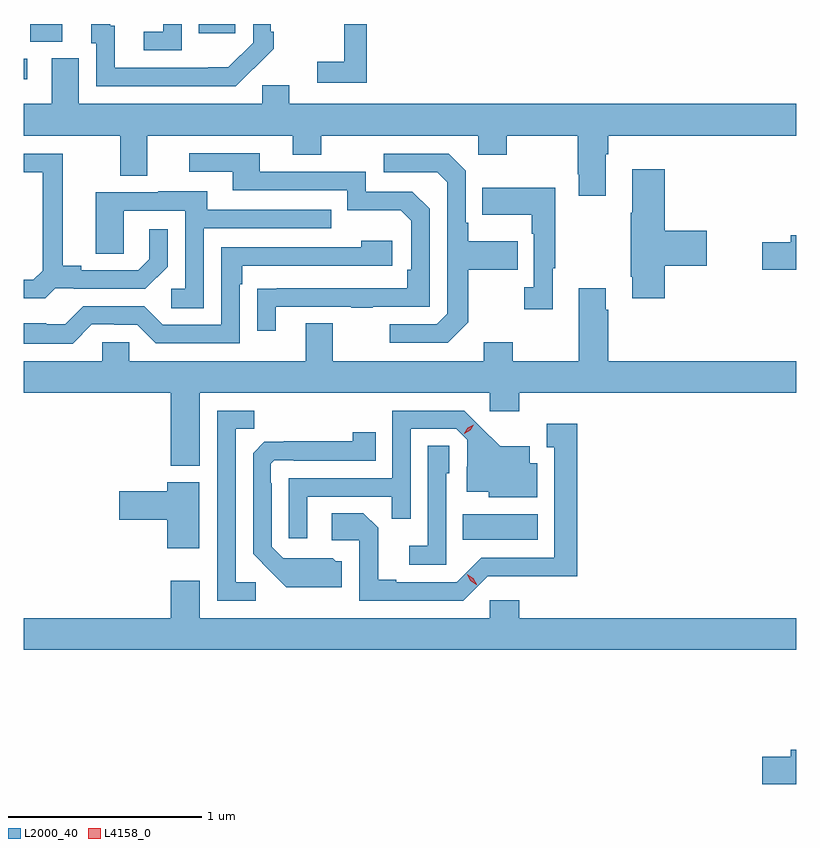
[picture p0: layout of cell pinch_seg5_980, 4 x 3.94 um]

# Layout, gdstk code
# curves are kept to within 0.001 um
import gdstk
lib = gdstk.Library(unit=1e-6, precision=1e-09)
def R(c, l, rs):  # rectangles x0, y0, x1, y1
    for r in rs: c.add(gdstk.rectangle(r[:2], r[2:], *l))
def P(c, l, *ps):  # polygons
    for p in ps: c.add(gdstk.Polygon(p, *l))
L2000_40 = (2000, 40)
L4158_0 = (4158, 0)

pinch_seg5_980 = lib.new_cell('pinch_seg5_980')
R(pinch_seg5_980, L2000_40, [(734.548,897.29,734.935,897.424), (732.274,899.676,732.292,899.781), (732.308,899.869,732.472,899.962), (733.181,899.913,733.369,899.962)])
P(pinch_seg5_980, L2000_40, [(733.463,899.731),(733.464,899.73),(733.569,899.835),(733.569,899.923),(733.554,899.923),(733.554,899.962),(733.461,899.962),(733.461,899.865),(733.333,899.737),(733.229,899.736),(732.745,899.736),(732.745,899.952),(732.721,899.952),(732.721,899.962),(732.623,899.962),(732.623,899.862),(732.648,899.862),(732.648,899.64),(733.372,899.64)],
  [(734.051,899.962),(733.934,899.962),(733.934,899.767),(733.794,899.767),(733.794,899.658),(734.051,899.658)],
  [(733.092,899.962),(732.996,899.962),(732.996,899.922),(732.894,899.922),(732.894,899.826),(733.092,899.826)],
  [(735.289,899.288),(735.302,899.288),(735.302,899.384),(736.274,899.384),(736.274,899.548),(733.648,899.548),(733.648,899.646),(733.509,899.646),(733.509,899.548),(732.559,899.548),(732.559,899.784),(732.419,899.784),(732.419,899.548),(732.274,899.548),(732.274,899.384),(732.773,899.384),(732.773,899.176),(732.913,899.176),(732.913,899.384),(733.667,899.384),(733.667,899.285),(733.815,899.285),(733.815,899.384),(734.628,899.384),(734.628,899.285),(734.775,899.285),(734.775,899.384),(735.142,899.384),(735.142,899.185),(735.149,899.185),(735.149,899.073),(735.289,899.073)],
  [(733.579,898.497),(733.969,898.497),(733.969,898.492),(734.081,898.492),(734.081,898.497),(734.376,898.497),(734.376,899.004),(734.286,899.094),(734.046,899.094),(734.046,899.196),(733.495,899.196),(733.495,899.292),(733.131,899.292),(733.131,899.196),(733.355,899.196),(733.355,899.1),(733.95,899.1),(733.95,898.997),(734.227,898.997),(734.28,898.944),(734.28,898.69),(734.26,898.69),(734.26,898.593),(733.483,898.592),(733.483,898.374),(733.579,898.374)],
  [(732.438,898.593),(732.532,898.593),(732.532,898.59),(732.904,898.59),(733.02,898.706),(733.02,898.9),(732.923,898.9),(732.923,898.743),(732.866,898.686),(732.571,898.686),(732.571,898.709),(732.475,898.709),(732.475,899.289),(732.274,899.289),(732.274,899.193),(732.371,899.193),(732.371,898.685),(732.324,898.638),(732.274,898.638),(732.274,898.541),(732.386,898.541)],
  [(734.575,898.417),(734.575,898.69),(734.831,898.69),(734.831,898.837),(734.575,898.837),(734.575,898.933),(734.562,898.933),(734.562,899.202),(734.475,899.289),(734.139,899.289),(734.139,899.193),(734.415,899.193),(734.466,899.142),(734.466,898.461),(734.412,898.407),(734.169,898.407),(734.169,898.311),(734.469,898.311)],
  [(735.593,898.709),(735.811,898.709),(735.811,898.892),(735.593,898.892),(735.593,899.209),(735.425,899.209),(735.425,898.985),(735.418,898.985),(735.418,898.654),(735.425,898.654),(735.425,898.542),(735.593,898.542)],
  [(735.013,898.697),(735.025,898.697),(735.025,899.113),(734.647,899.113),(734.647,898.973),(734.904,898.973),(734.904,898.877),(734.916,898.877),(734.916,898.598),(734.865,898.598),(734.865,898.485),(735.013,898.485)],
  [(733.206,898.905),(733.865,898.905),(733.865,899.001),(733.225,899.001),(733.225,899.095),(732.971,899.095),(732.971,899.091),(732.647,899.091),(732.647,898.771),(732.792,898.771),(732.792,898.995),(733.11,898.995),(733.11,898.59),(733.038,898.59),(733.038,898.489),(733.206,898.489)],
  [(736.274,898.868),(736.247,898.868),(736.247,898.832),(736.098,898.832),(736.098,898.69),(736.274,898.69)],
  [(732.627,898.407),(732.743,898.407),(732.743,898.404),(732.861,898.404),(732.957,898.308),(733.392,898.308),(733.392,898.613),(733.405,898.613),(733.405,898.71),(734.182,898.71),(734.182,898.84),(734.021,898.84),(734.021,898.806),(733.296,898.806),(733.296,898.404),(732.993,898.404),(732.897,898.5),(732.582,898.5),(732.489,898.407),(732.389,898.407),(732.389,898.411),(732.274,898.411),(732.274,898.307),(732.527,898.307)],
  [(735.149,898.594),(735.149,898.216),(734.805,898.216),(734.805,898.315),(734.657,898.315),(734.657,898.216),(733.873,898.216),(733.873,898.411),(733.733,898.411),(733.733,898.216),(732.819,898.216),(732.819,898.314),(732.681,898.314),(732.681,898.216),(732.274,898.216),(732.274,898.052),(733.034,898.052),(733.034,897.674),(733.186,897.674),(733.186,898.052),(734.688,898.052),(734.688,897.957),(734.84,897.957),(734.84,898.052),(736.274,898.052),(736.274,898.216),(735.302,898.216),(735.302,898.481),(735.289,898.481),(735.289,898.594)],
  [(733.474,897.072),(733.371,897.072),(733.371,897.865),(733.467,897.865),(733.467,897.96),(733.275,897.96),(733.275,896.976),(733.474,896.976)],
  [(733.743,897.513),(734.179,897.513),(734.179,897.4),(734.277,897.4),(734.277,897.867),(734.514,897.867),(734.571,897.81),(734.571,897.668),(734.567,897.668),(734.567,897.539),(734.682,897.539),(734.682,897.512),(734.932,897.512),(734.932,897.688),(734.893,897.688),(734.893,897.775),(734.741,897.775),(734.554,897.96),(734.181,897.96),(734.181,897.609),(733.647,897.609),(733.647,897.3),(733.743,897.3)],
  [(734.676,897.102),(735.139,897.101),(735.139,897.892),(734.981,897.892),(734.981,897.771),(735.02,897.771),(735.02,897.198),(734.643,897.198),(734.517,897.072),(734.203,897.072),(734.203,897.085),(734.109,897.085),(734.109,897.352),(734.033,897.428),(733.869,897.428),(733.869,897.288),(734.01,897.288),(734.01,896.976),(734.55,896.976)],
  [(733.921,897.18),(733.89,897.18),(733.874,897.196),(733.617,897.195),(733.557,897.255),(733.557,897.584),(733.554,897.584),(733.554,897.684),(733.572,897.702),(733.672,897.702),(733.672,897.699),(734.096,897.699),(734.096,897.847),(733.978,897.847),(733.978,897.8),(733.52,897.799),(733.461,897.74),(733.461,897.218),(733.633,897.044),(733.921,897.044)],
  [(734.463,897.636),(734.478,897.636),(734.478,897.779),(734.367,897.779),(734.367,897.259),(734.271,897.259),(734.271,897.162),(734.463,897.162)],
  [(733.183,897.589),(733.016,897.589),(733.016,897.542),(732.768,897.542),(732.768,897.395),(733.016,897.395),(733.016,897.246),(733.183,897.246)],
  [(736.274,896.884),(734.84,896.884),(734.84,896.977),(734.688,896.977),(734.688,896.884),(733.186,896.884),(733.186,897.079),(733.034,897.079),(733.034,896.884),(732.274,896.884),(732.274,896.72),(736.274,896.72)],
  [(736.274,896.204),(736.247,896.204),(736.247,896.168),(736.098,896.168),(736.098,896.026),(736.274,896.026)])
P(pinch_seg5_980, L4158_0, [(734.618,897.059),(734.587,897.079),(734.57,897.111),(734.57,897.112),(734.57,897.112),(734.602,897.092),(734.619,897.06),(734.619,897.059)],
  [(734.556,897.841),(734.556,897.842),(734.573,897.871),(734.604,897.886),(734.604,897.886),(734.604,897.886),(734.587,897.857),(734.556,897.841)])

lib.write_gds('pinch_seg5_980.gds')
